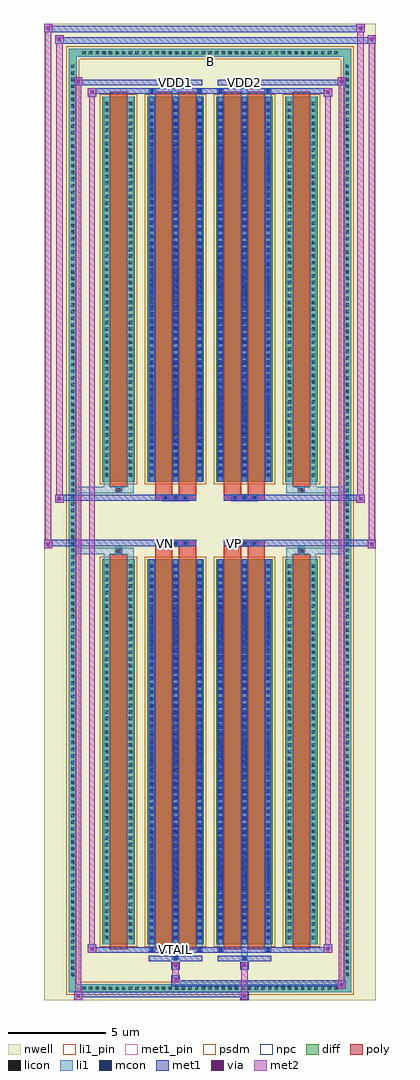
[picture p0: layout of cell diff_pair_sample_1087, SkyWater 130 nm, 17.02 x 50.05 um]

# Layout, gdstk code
import gdstk
lib = gdstk.Library(unit=1e-6, precision=5e-09)
def R(c, l, rs):  # rectangles x0, y0, x1, y1
    for r in rs: c.add(gdstk.rectangle(r[:2], r[2:], *l))
def A(c, l, x, y, w, h, nx, ny, dx, dy):  # array of equal rectangles
    R(c, l, [(x+i*dx, y+j*dy, x+i*dx+w, y+j*dy+h) for i in range(nx) for j in range(ny)])
def P(c, l, *ps):  # polygons
    for p in ps: c.add(gdstk.Polygon(p, *l))
nwell = (64, 20)
diff = (65, 20)
poly = (66, 20)
licon = (66, 44)
li1_pin = (67, 16)
li1 = (67, 20)
mcon = (67, 44)
met1_pin = (68, 16)
met1 = (68, 20)
via = (68, 44)
met2 = (69, 20)
psdm = (94, 20)
npc = (95, 20)

diff_pair_sample_1087 = lib.new_cell('diff_pair_sample_1087')
R(diff_pair_sample_1087, nwell, [(-8.51,-24.59,8.51,25.46), (-5.83,-22.78,-0.01,-0.8), (0.01,-22.78,5.83,-0.8), (-5.83,0.8,-0.01,22.78), (0.01,0.8,5.83,22.78)])
A(diff_pair_sample_1087, diff, -6.665, -24.19, 0.41, 0.41, 39, 2, 0.34, 47.97)
A(diff_pair_sample_1087, diff, -7.24, -23.495, 0.41, 0.41, 1, 138, 0, 0.34)
A(diff_pair_sample_1087, diff, 6.83, -23.495, 0.41, 0.41, 1, 138, 0, 0.34)
R(diff_pair_sample_1087, diff, [(-6.665,-24.19,6.665,-23.78), (-7.24,-23.495,-6.83,23.495), (6.83,-23.495,7.24,23.495), (-5.52,-21.735,-3.85,-1.985), (-3.21,-21.735,-0.32,-1.985), (0.32,-21.735,3.21,-1.985), (3.85,-21.735,5.52,-1.985), (-5.52,1.985,-3.85,21.735), (-3.21,1.985,-0.32,21.735), (0.32,1.985,3.21,21.735), (3.85,1.985,5.52,21.735), (-6.665,23.78,6.665,24.19)])
P(diff_pair_sample_1087, diff, [(7.24,24.19),(-7.24,24.19),(-7.24,-23.78),(-6.83,-23.78),(-6.83,23.78),(6.83,23.78),(6.83,-23.78),(-6.83,-23.78),(-7.24,-23.78),(-7.24,-24.19),(7.24,-24.19)])
A(diff_pair_sample_1087, poly, -2.43, -1.33, 0.33, 0.33, 3, 2, 0.5, 2.33)
A(diff_pair_sample_1087, poly, 1.1, -1.33, 0.33, 0.33, 3, 2, 0.5, 2.33)
R(diff_pair_sample_1087, poly, [(-5.13,-21.985,-4.24,-1.735), (-2.82,-21.985,-1.93,-1.735), (-1.6,-21.985,-0.71,-1.735), (0.71,-21.985,1.6,-1.735), (1.93,-21.985,2.82,-1.735), (4.24,-21.985,5.13,-1.735), (-4.85,-1.735,-4.52,-1.405), (-4.85,-1.735,-4.52,-1.405), (-2.82,-1.735,-1.93,-1.33), (-1.6,-1.735,-0.71,-1.33), (0.71,-1.735,1.6,-1.33), (1.93,-1.735,2.82,-1.33), (4.52,-1.735,4.85,-1.405), (4.52,-1.735,4.85,-1.405), (-2.82,-1.33,-0.71,-1), (0.71,-1.33,2.82,-1), (-2.82,1,-0.71,1.33), (0.71,1,2.82,1.33), (-2.82,1.33,-1.93,1.735), (-1.6,1.33,-0.71,1.735), (0.71,1.33,1.6,1.735), (1.93,1.33,2.82,1.735), (-4.85,1.405,-4.52,1.735), (-4.85,1.405,-4.52,1.735), (4.52,1.405,4.85,1.735), (4.52,1.405,4.85,1.735), (-5.13,1.735,-4.24,21.985), (-2.82,1.735,-1.93,21.985), (-1.6,1.735,-0.71,21.985), (0.71,1.735,1.6,21.985), (1.93,1.735,2.82,21.985), (4.24,1.735,5.13,21.985)])
A(diff_pair_sample_1087, licon, -6.545, -24.07, 0.17, 0.17, 39, 2, 0.34, 47.97)
A(diff_pair_sample_1087, licon, -7.12, -23.375, 0.17, 0.17, 1, 138, 0, 0.34)
A(diff_pair_sample_1087, licon, 6.95, -23.375, 0.17, 0.17, 1, 138, 0, 0.34)
A(diff_pair_sample_1087, licon, -5.38, -21.465, 0.17, 0.17, 1, 57, 0, 0.34)
A(diff_pair_sample_1087, licon, -4.16, -21.465, 0.17, 0.17, 1, 57, 0, 0.34)
A(diff_pair_sample_1087, licon, -3.07, -21.465, 0.17, 0.17, 3, 57, 1.22, 0.34)
A(diff_pair_sample_1087, licon, 0.46, -21.465, 0.17, 0.17, 3, 57, 1.22, 0.34)
A(diff_pair_sample_1087, licon, 3.99, -21.465, 0.17, 0.17, 1, 57, 0, 0.34)
A(diff_pair_sample_1087, licon, 5.21, -21.465, 0.17, 0.17, 1, 57, 0, 0.34)
A(diff_pair_sample_1087, licon, -2.35, -1.25, 0.17, 0.17, 3, 2, 0.5, 2.33)
A(diff_pair_sample_1087, licon, 1.18, -1.25, 0.17, 0.17, 3, 2, 0.5, 2.33)
A(diff_pair_sample_1087, licon, -5.38, 2.255, 0.17, 0.17, 1, 57, 0, 0.34)
A(diff_pair_sample_1087, licon, -4.16, 2.255, 0.17, 0.17, 1, 57, 0, 0.34)
A(diff_pair_sample_1087, licon, -3.07, 2.255, 0.17, 0.17, 3, 57, 1.22, 0.34)
A(diff_pair_sample_1087, licon, 0.46, 2.255, 0.17, 0.17, 3, 57, 1.22, 0.34)
A(diff_pair_sample_1087, licon, 3.99, 2.255, 0.17, 0.17, 1, 57, 0, 0.34)
A(diff_pair_sample_1087, licon, 5.21, 2.255, 0.17, 0.17, 1, 57, 0, 0.34)
R(diff_pair_sample_1087, licon, [(-4.77,-1.655,-4.6,-1.485), (4.6,-1.655,4.77,-1.485), (-4.77,1.485,-4.6,1.655), (4.6,1.485,4.77,1.655)])
R(diff_pair_sample_1087, li1_pin, [(-0.25,23.28,0.25,23.78)])
A(diff_pair_sample_1087, li1, -6.625, -24.15, 0.33, 0.33, 39, 2, 0.34, 47.97)
A(diff_pair_sample_1087, li1, -7.2, -23.455, 0.33, 0.33, 1, 138, 0, 0.34)
A(diff_pair_sample_1087, li1, 6.87, -23.455, 0.33, 0.33, 1, 138, 0, 0.34)
A(diff_pair_sample_1087, li1, -3.15, -21.735, 0.33, 19.75, 3, 2, 1.22, 23.72)
A(diff_pair_sample_1087, li1, 0.38, -21.735, 0.33, 19.75, 3, 2, 1.22, 23.72)
A(diff_pair_sample_1087, li1, -5.46, -21.545, 0.33, 0.33, 1, 57, 0, 0.34)
A(diff_pair_sample_1087, li1, -4.24, -21.545, 0.33, 0.33, 1, 57, 0, 0.34)
A(diff_pair_sample_1087, li1, -3.15, -21.545, 0.33, 0.33, 3, 57, 1.22, 0.34)
A(diff_pair_sample_1087, li1, 0.38, -21.545, 0.33, 0.33, 3, 57, 1.22, 0.34)
A(diff_pair_sample_1087, li1, 3.91, -21.545, 0.33, 0.33, 1, 57, 0, 0.34)
A(diff_pair_sample_1087, li1, 5.13, -21.545, 0.33, 0.33, 1, 57, 0, 0.34)
A(diff_pair_sample_1087, li1, -3.07, -21.485, 0.17, 0.17, 3, 54, 1.22, 0.36)
A(diff_pair_sample_1087, li1, -3.07, -21.485, 0.17, 19.25, 3, 2, 1.22, 23.72)
A(diff_pair_sample_1087, li1, 0.46, -21.485, 0.17, 0.17, 3, 54, 1.22, 0.36)
A(diff_pair_sample_1087, li1, 0.46, -21.485, 0.17, 19.25, 3, 2, 1.22, 23.72)
A(diff_pair_sample_1087, li1, -2.43, -1.33, 0.33, 0.33, 3, 2, 0.5, 2.33)
A(diff_pair_sample_1087, li1, 1.1, -1.33, 0.33, 0.33, 3, 2, 0.5, 2.33)
A(diff_pair_sample_1087, li1, -5.46, 2.175, 0.33, 0.33, 1, 57, 0, 0.34)
A(diff_pair_sample_1087, li1, -4.24, 2.175, 0.33, 0.33, 1, 57, 0, 0.34)
A(diff_pair_sample_1087, li1, -3.15, 2.175, 0.33, 0.33, 3, 57, 1.22, 0.34)
A(diff_pair_sample_1087, li1, 0.38, 2.175, 0.33, 0.33, 3, 57, 1.22, 0.34)
A(diff_pair_sample_1087, li1, 3.91, 2.175, 0.33, 0.33, 1, 57, 0, 0.34)
A(diff_pair_sample_1087, li1, 5.13, 2.175, 0.33, 0.33, 1, 57, 0, 0.34)
A(diff_pair_sample_1087, li1, -3.07, 2.235, 0.17, 0.17, 3, 54, 1.22, 0.36)
A(diff_pair_sample_1087, li1, 0.46, 2.235, 0.17, 0.17, 3, 54, 1.22, 0.36)
R(diff_pair_sample_1087, li1, [(-7.24,-24.19,-6.83,-23.78), (-7.24,-24.19,-6.83,-23.78), (-6.83,-24.19,6.83,-23.78), (6.83,-24.19,7.24,-23.78), (6.83,-24.19,7.24,-23.78), (-7.24,-23.78,-6.83,23.78), (6.83,-23.78,7.24,23.78), (-1.93,-22.54,-1.6,-21.735), (-1.85,-22.54,-1.68,-22.37), (1.6,-22.54,1.93,-21.735), (1.68,-22.54,1.85,-22.37), (-3.15,-22.11,-2.82,-21.735), (-3.07,-22.11,-2.9,-21.94), (-0.71,-22.11,-0.38,-21.735), (-0.63,-22.11,-0.46,-21.94), (0.38,-22.11,0.71,-21.735), (0.46,-22.11,0.63,-21.94), (2.82,-22.11,3.15,-21.735), (2.9,-22.11,3.07,-21.94), (-5.46,-21.735,-5.13,-1.985), (-4.24,-21.735,-3.91,-1.985), (3.91,-21.735,4.24,-1.985), (5.13,-21.735,5.46,-1.985), (-5.46,-1.985,-5.13,-1.405), (-4.24,-1.985,-3.91,-1.405), (3.91,-1.985,4.24,-1.405), (5.13,-1.985,5.46,-1.405), (-7.24,-1.735,-4.85,-1.405), (-5.46,-1.735,-4.85,-1.405), (-4.85,-1.735,-4.52,-1.405), (-4.52,-1.735,-3.91,-1.405), (3.91,-1.735,4.52,-1.405), (4.52,-1.735,4.85,-1.405), (4.52,-1.735,7.24,-1.405), (4.85,-1.735,5.46,-1.405), (-7.24,1.405,-4.85,1.735), (-5.46,1.405,-4.85,1.735), (-5.46,1.405,-5.13,1.985), (-4.85,1.405,-4.52,1.735), (-4.52,1.405,-3.91,1.735), (-4.24,1.405,-3.91,1.985), (3.91,1.405,4.52,1.735), (3.91,1.405,4.24,1.985), (4.52,1.405,4.85,1.735), (4.52,1.405,7.24,1.735), (4.85,1.405,5.46,1.735), (5.13,1.405,5.46,1.985), (-5.46,1.985,-5.13,21.735), (-4.24,1.985,-3.91,21.735), (3.91,1.985,4.24,21.735), (5.13,1.985,5.46,21.735), (-3.15,21.735,-2.82,22.11), (-1.93,21.735,-1.6,22.54), (-0.71,21.735,-0.38,22.11), (0.38,21.735,0.71,22.11), (1.6,21.735,1.93,22.54), (2.82,21.735,3.15,22.11), (-3.07,21.94,-2.9,22.11), (-0.63,21.94,-0.46,22.11), (0.46,21.94,0.63,22.11), (2.9,21.94,3.07,22.11), (-1.85,22.37,-1.68,22.54), (1.68,22.37,1.85,22.54), (-7.24,23.78,-6.83,24.19), (-7.24,23.78,-6.83,24.19), (-6.83,23.78,6.83,24.19), (6.83,23.78,7.24,24.19), (6.83,23.78,7.24,24.19)])
A(diff_pair_sample_1087, mcon, -3.07, -21.485, 0.17, 0.17, 3, 54, 1.22, 0.36)
A(diff_pair_sample_1087, mcon, 0.46, -21.485, 0.17, 0.17, 3, 54, 1.22, 0.36)
A(diff_pair_sample_1087, mcon, -2.35, -1.25, 0.17, 0.17, 3, 2, 0.5, 2.33)
A(diff_pair_sample_1087, mcon, 1.18, -1.25, 0.17, 0.17, 3, 2, 0.5, 2.33)
A(diff_pair_sample_1087, mcon, -3.07, 2.235, 0.17, 0.17, 3, 54, 1.22, 0.36)
A(diff_pair_sample_1087, mcon, 0.46, 2.235, 0.17, 0.17, 3, 54, 1.22, 0.36)
R(diff_pair_sample_1087, mcon, [(-1.85,-22.54,-1.68,-22.37), (1.68,-22.54,1.85,-22.37), (-3.07,-22.11,-2.9,-21.94), (-0.63,-22.11,-0.46,-21.94), (0.46,-22.11,0.63,-21.94), (2.9,-22.11,3.07,-21.94), (-3.07,21.94,-2.9,22.11), (-0.63,21.94,-0.46,22.11), (0.46,21.94,0.63,22.11), (2.9,21.94,3.07,22.11), (-1.85,22.37,-1.68,22.54), (1.68,22.37,1.85,22.54)])
R(diff_pair_sample_1087, met1_pin, [(-1.9,-22.15,-1.63,-21.88), (-2.4,-1.29,-2.13,-1.02), (1.13,-1.29,1.4,-1.02), (-1.9,22.33,-1.63,22.6), (1.63,22.33,1.9,22.6)])
A(diff_pair_sample_1087, met1, -3.13, -21.735, 0.29, 19.75, 3, 2, 1.22, 23.72)
A(diff_pair_sample_1087, met1, 0.4, -21.735, 0.29, 19.75, 3, 2, 1.22, 23.72)
A(diff_pair_sample_1087, met1, -3.13, -21.545, 0.29, 0.29, 3, 54, 1.22, 0.36)
A(diff_pair_sample_1087, met1, 0.4, -21.545, 0.29, 0.29, 3, 54, 1.22, 0.36)
A(diff_pair_sample_1087, met1, -2.41, -1.31, 0.29, 0.29, 3, 2, 0.5, 2.33)
A(diff_pair_sample_1087, met1, 1.12, -1.31, 0.29, 0.29, 3, 2, 0.5, 2.33)
A(diff_pair_sample_1087, met1, -3.13, 2.175, 0.29, 0.29, 3, 54, 1.22, 0.36)
A(diff_pair_sample_1087, met1, 0.4, 2.175, 0.29, 0.29, 3, 54, 1.22, 0.36)
R(diff_pair_sample_1087, met1, [(-6.97,-24.59,-6.54,-24.16), (1.55,-24.59,1.98,-24.16), (-6.97,-24.45,1.98,-24.16), (6.54,-24.02,6.97,-23.59), (-1.98,-23.88,6.97,-23.59), (-1.98,-23.74,-1.55,-23.31), (-1.98,-23.03,-1.55,-22.6), (1.55,-23.03,1.98,-22.6), (-3.13,-22.6,-0.4,-22.31), (-1.91,-22.6,-1.62,-22.31), (0.4,-22.6,3.13,-22.31), (1.62,-22.6,1.91,-22.31), (-6.26,-22.17,-5.83,-21.74), (-6.26,-22.17,-3.13,-21.88), (-3.13,-22.17,-2.84,-21.88), (-3.13,-22.17,-0.4,-21.88), (-0.69,-22.17,-0.4,-21.88), (-0.4,-22.17,0.4,-21.88), (0.4,-22.17,0.69,-21.88), (0.4,-22.17,3.13,-21.88), (2.84,-22.17,3.13,-21.88), (3.13,-22.17,6.26,-21.88), (5.83,-22.17,6.26,-21.74), (-8.51,-1.43,-8.08,-1), (8.08,-1.43,8.51,-1), (-8.51,-1.33,-0.71,-1), (-2.82,-1.33,-0.71,-1), (0.71,-1.33,2.82,-1), (0.71,-1.33,8.51,-1), (-7.94,0.9,-7.51,1.33), (7.51,0.9,7.94,1.33), (-7.94,1,-2.82,1.33), (-2.82,1,-0.71,1.33), (0.71,1,2.82,1.33), (2.82,1,7.94,1.33), (-6.26,21.74,-5.83,22.17), (5.83,21.74,6.26,22.17), (-6.26,21.88,-3.13,22.17), (-3.13,21.88,-2.84,22.17), (-3.13,21.88,-0.4,22.17), (-0.69,21.88,-0.4,22.17), (-0.4,21.88,0.4,22.17), (0.4,21.88,0.69,22.17), (0.4,21.88,3.13,22.17), (2.84,21.88,3.13,22.17), (3.13,21.88,6.26,22.17), (-6.97,22.31,-6.54,22.74), (-6.97,22.31,-3.13,22.6), (-3.13,22.31,-0.4,22.6), (-1.91,22.31,-1.62,22.6), (0.4,22.31,3.13,22.6), (1.62,22.31,1.91,22.6), (3.13,22.31,6.97,22.6), (6.54,22.31,6.97,22.74), (-7.94,24.46,-5.83,24.79), (-7.94,24.46,-7.51,24.89), (-5.83,24.46,5.83,24.79), (5.83,24.46,8.51,24.79), (8.08,24.46,8.51,24.89), (-8.51,25.03,-8.08,25.46), (-8.51,25.03,-5.83,25.36), (-5.83,25.03,5.83,25.36), (5.83,25.03,7.94,25.36), (7.51,25.03,7.94,25.46)])
R(diff_pair_sample_1087, via, [(-6.83,-24.45,-6.68,-24.3), (1.69,-24.45,1.84,-24.3), (6.68,-23.88,6.83,-23.73), (-1.84,-23.6,-1.69,-23.45), (-1.84,-22.89,-1.69,-22.74), (1.69,-22.89,1.84,-22.74), (-6.12,-22.03,-5.97,-21.88), (5.97,-22.03,6.12,-21.88), (-8.37,-1.29,-8.22,-1.14), (8.22,-1.29,8.37,-1.14), (-7.8,1.04,-7.65,1.19), (7.65,1.04,7.8,1.19), (-6.12,21.88,-5.97,22.03), (5.97,21.88,6.12,22.03), (-6.83,22.45,-6.68,22.6), (6.68,22.45,6.83,22.6), (-7.8,24.6,-7.65,24.75), (8.22,24.6,8.37,24.75), (-8.37,25.17,-8.22,25.32), (7.65,25.17,7.8,25.32)])
R(diff_pair_sample_1087, met2, [(-6.97,-24.59,-6.54,-24.16), (-6.9,-24.59,-6.61,22.74), (-6.61,-24.59,-6.54,-24.16), (-6.92,-24.54,-6.59,-24.21), (1.6,-24.54,1.93,-24.21), (1.6,-24.21,1.93,-22.98), (6.54,-24.02,6.97,-23.59), (6.61,-24.02,6.9,22.74), (6.9,-24.02,6.97,-23.59), (6.59,-23.97,6.92,-23.64), (-1.93,-23.69,-1.6,-23.36), (-1.93,-23.36,-1.6,-22.98), (-1.93,-22.98,-1.6,-22.65), (1.6,-22.98,1.93,-22.65), (-6.26,-22.17,-5.83,-21.74), (-6.19,-22.17,-5.9,22.17), (-5.9,-22.17,-5.83,-21.74), (5.83,-22.17,6.26,-21.74), (5.9,-22.17,6.19,22.17), (6.19,-22.17,6.26,-21.74), (-6.21,-22.12,-5.88,-21.79), (5.88,-22.12,6.21,-21.79), (-8.51,-1.43,-8.08,-1), (-8.46,-1.43,-8.13,25.46), (-8.13,-1.43,-8.08,-1), (8.08,-1.43,8.51,-1), (8.13,-1.43,8.46,24.89), (8.46,-1.43,8.51,-1), (-8.46,-1.38,-8.13,-1.05), (8.13,-1.38,8.46,-1.05), (-7.94,0.9,-7.51,1.33), (-7.89,0.9,-7.56,24.89), (-7.56,0.9,-7.51,1.33), (7.51,0.9,7.94,1.33), (7.56,0.9,7.89,25.46), (7.89,0.9,7.94,1.33), (-7.89,0.95,-7.56,1.28), (7.56,0.95,7.89,1.28), (-6.26,21.74,-5.83,22.17), (-5.9,21.74,-5.83,22.17), (5.83,21.74,6.26,22.17), (6.19,21.74,6.26,22.17), (-6.21,21.79,-5.88,22.12), (5.88,21.79,6.21,22.12), (-6.97,22.31,-6.54,22.74), (-6.61,22.31,-6.54,22.74), (6.54,22.31,6.97,22.74), (6.9,22.31,6.97,22.74), (-6.92,22.36,-6.59,22.69), (6.59,22.36,6.92,22.69), (-7.94,24.46,-7.51,24.89), (-7.56,24.46,-7.51,24.89), (8.08,24.46,8.51,24.89), (8.46,24.46,8.51,24.89), (-7.89,24.51,-7.56,24.84), (8.13,24.51,8.46,24.84), (-8.51,25.03,-8.08,25.46), (-8.13,25.03,-8.08,25.46), (7.51,25.03,7.94,25.46), (7.89,25.03,7.94,25.46), (-8.46,25.08,-8.13,25.41), (7.56,25.08,7.89,25.41)])
R(diff_pair_sample_1087, psdm, [(-5.65,-21.865,-3.72,-1.855), (-3.34,-21.865,-0.19,-1.855), (0.19,-21.865,3.34,-1.855), (3.72,-21.865,5.65,-1.855), (-5.65,1.855,-3.72,21.865), (-3.34,1.855,-0.19,21.865), (0.19,1.855,3.34,21.865), (3.72,1.855,5.65,21.865)])
P(diff_pair_sample_1087, psdm, [(7.37,24.32),(-7.37,24.32),(-7.37,-23.65),(-6.7,-23.65),(-6.7,23.65),(6.7,23.65),(6.7,-23.65),(-6.7,-23.65),(-7.37,-23.65),(-7.37,-24.32),(7.37,-24.32)])
A(diff_pair_sample_1087, npc, -2.45, -1.35, 0.37, 0.37, 3, 2, 0.5, 2.33)
A(diff_pair_sample_1087, npc, 1.08, -1.35, 0.37, 0.37, 3, 2, 0.5, 2.33)
R(diff_pair_sample_1087, npc, [(-4.87,-1.755,-4.5,-1.385), (4.5,-1.755,4.87,-1.385), (-2.45,-1.35,-1.58,-0.98), (-2.45,-1.35,-1.58,-0.98), (-1.95,-1.35,-1.08,-0.98), (-1.95,-1.35,-1.08,-0.98), (1.08,-1.35,1.95,-0.98), (1.08,-1.35,1.95,-0.98), (1.58,-1.35,2.45,-0.98), (1.58,-1.35,2.45,-0.98), (-2.45,0.98,-1.58,1.35), (-2.45,0.98,-1.58,1.35), (-1.95,0.98,-1.08,1.35), (-1.95,0.98,-1.08,1.35), (1.08,0.98,1.95,1.35), (1.08,0.98,1.95,1.35), (1.58,0.98,2.45,1.35), (1.58,0.98,2.45,1.35), (-4.87,1.385,-4.5,1.755), (4.5,1.385,4.87,1.755)])
diff_pair_sample_1087.add(gdstk.Label('VTAIL', (-1.765,-22.015), layer=68, texttype=5))
diff_pair_sample_1087.add(gdstk.Label('VN', (-2.265,-1.155), layer=68, texttype=5))
diff_pair_sample_1087.add(gdstk.Label('VP', (1.265,-1.155), layer=68, texttype=5))
diff_pair_sample_1087.add(gdstk.Label('B', (0,23.53), layer=67, texttype=5))
diff_pair_sample_1087.add(gdstk.Label('VDD2', (1.765,22.465), layer=68, texttype=5))
diff_pair_sample_1087.add(gdstk.Label('VDD1', (-1.765,22.465), layer=68, texttype=5))

lib.write_gds('diff_pair_sample_1087.gds')
